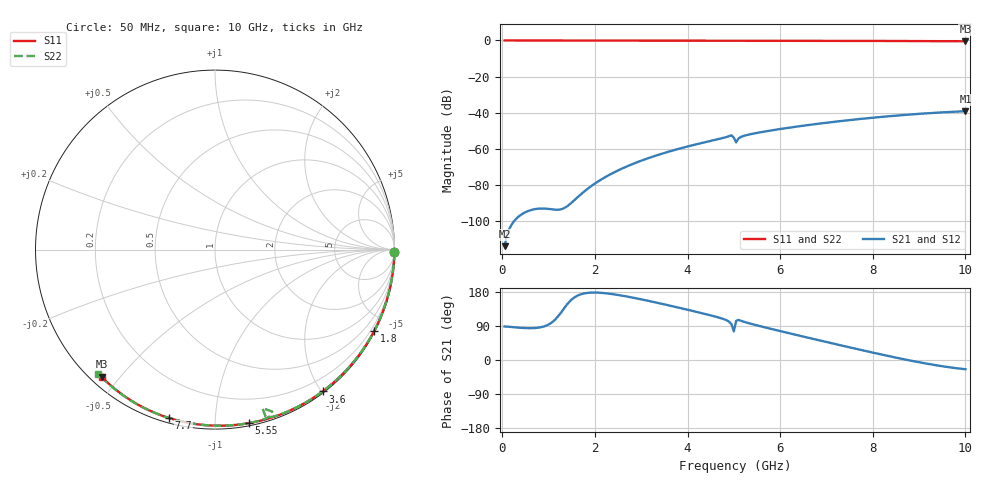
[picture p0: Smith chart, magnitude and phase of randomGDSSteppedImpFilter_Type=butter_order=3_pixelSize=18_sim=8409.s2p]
! freq	dB(S11)	phase(S11)	dB(S12)	phase(S12)
!  dB(S21)	phase(S21)	dB(S22)	phase(S22)
!S-par simulation data
#  GHz  S  DB  R 50
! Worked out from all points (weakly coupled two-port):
!   200 points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, 50 MHz to 10 GHz, reference 50 ohm
!   highest |S21| = -39.20 dB at 10 GHz (marker M1); lowest = -114.0 dB at 50 MHz (marker M2)
!   lowest |S11| = -0.5 dB at 10 GHz (marker M3), VSWR 38.36, Z = 1.56 - j22.4 ohm
!   |S11| at or under -10 dB: nowhere
!   |S22| runs from -0.7 to 0.0 dB; largest |S21 - S12| = 0
!   S11 on the Smith chart (normalised r, x): 50 MHz: open; 1.8 GHz: 0.04, -4.16; 3.6 GHz: 0.02, -2.01; 5.55 GHz: 0.02, -1.22; 7.7 GHz: 0.02, -0.76; 10 GHz: 0.03, -0.45
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0.05  -0.00 -0.8  -113.95 88.5  -113.95 88.5  -0.00 -0.8
0.9  -0.02 -13.6  -93.10 88.6  -93.10 88.6  -0.02 -13.7
1.75  -0.03 -26.3  -84.07 175.2  -84.07 175.2  -0.03 -26.4
1.8  -0.03 -27.0  -83.02 176.4  -83.02 176.4  -0.03 -27.1
1.95  -0.04 -29.2  -80.14 178.0  -80.14 178.0  -0.04 -29.3
2.25  -0.04 -33.6  -75.31 175.9  -75.31 175.9  -0.04 -33.7
2.55  -0.05 -37.9  -71.38 170.6  -71.38 170.6  -0.05 -38.1
2.95  -0.06 -43.7  -67.08 161.3  -67.08 161.3  -0.06 -43.9
3.4  -0.07 -50.0  -63.10 149.5  -63.10 149.5  -0.07 -50.2
3.6  -0.07 -52.8  -61.55 144.0  -61.55 144.0  -0.07 -53.1
4.65  -0.10 -67.1  -54.74 112.8  -54.74 112.8  -0.10 -67.7
4.95  -0.11 -71.1  -52.56 94.2  -52.56 94.2  -0.25 -73.1
5  -0.11 -71.7  -53.89 75.5  -53.89 75.5  -0.71 -73.4
5.05  -0.11 -72.4  -56.44 103.3  -56.44 103.3  -0.38 -70.5
5.1  -0.11 -73.0  -54.32 105.8  -54.32 105.8  -0.19 -71.9
5.15  -0.11 -73.7  -53.48 103.6  -53.48 103.6  -0.15 -73.0
5.3  -0.12 -75.6  -52.27 97.8  -52.27 97.8  -0.13 -75.4
5.55  -0.13 -78.9  -50.97 89.8  -50.97 89.8  -0.13 -78.9
6.7  -0.18 -93.3  -46.54 56.0  -46.54 56.0  -0.18 -93.6
7.7  -0.24 -105.3  -43.56 27.8  -43.56 27.8  -0.24 -105.7
8.35  -0.29 -112.9  -41.97 10.2  -41.97 10.2  -0.29 -113.5
10  -0.45 -131.8  -39.20 -24.3  -39.20 -24.3  -0.45 -133.2
